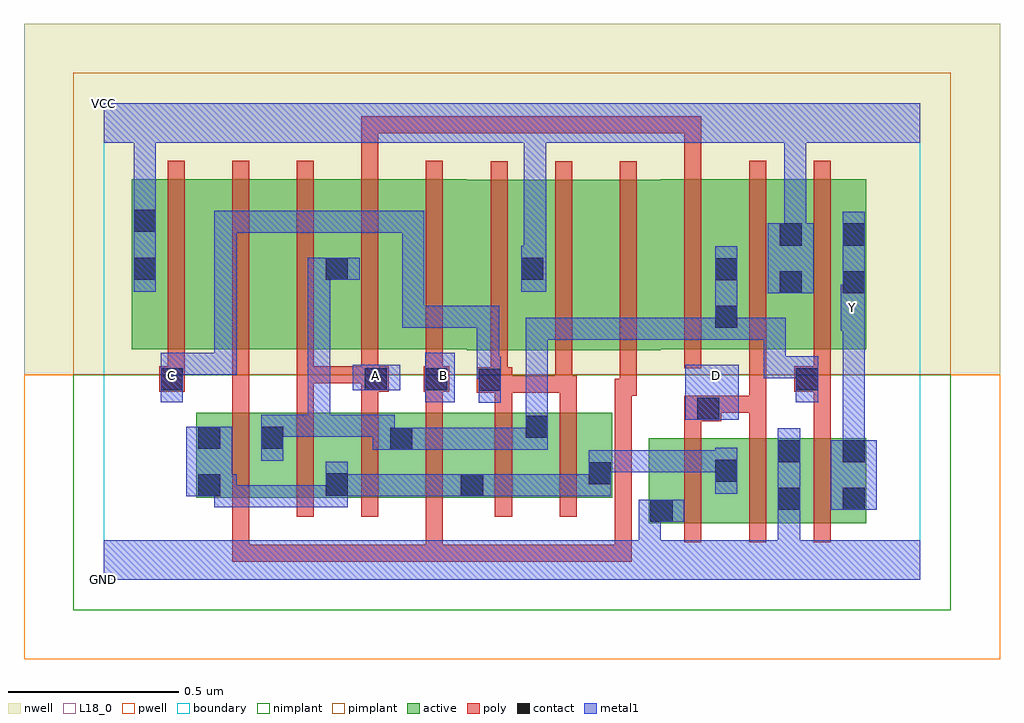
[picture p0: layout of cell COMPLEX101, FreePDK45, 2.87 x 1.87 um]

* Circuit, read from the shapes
.subckt COMPLEX101 A B C D GND VCC Y
M1 n1 B n2 VSUBS nfet w=0.25u l=0.05u m=2
M2 n2 A n1 VSUBS nfet w=0.25u l=0.05u m=2
M3 n1 C n2 VSUBS nfet w=0.25u l=0.05u m=2
M4 n2 D GND VSUBS nfet w=0.25u l=0.05u m=2
M5 Y n1 GND VSUBS nfet w=0.25u l=0.05u
M6 n3 C VCC n4 pfet w=0.5u l=0.05u
M7 n5 B n3 n4 pfet w=0.5u l=0.05u
M8 n1 A n5 n4 pfet w=0.5u l=0.05u
M9 n6 A n1 n4 pfet w=0.5u l=0.05u
M10 n7 B n6 n4 pfet w=0.5u l=0.05u
M11 VCC C n7 n4 pfet w=0.5u l=0.05u
M12 n8 C VCC n4 pfet w=0.5u l=0.05u
M13 n9 B n8 n4 pfet w=0.5u l=0.05u
M14 n1 A n9 n4 pfet w=0.5u l=0.05u
M15 VCC D n1 n4 pfet w=0.5u l=0.05u
M16 Y n1 VCC n4 pfet w=0.5u l=0.05u
.ends

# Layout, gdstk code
import gdstk
lib = gdstk.Library(unit=1e-6, precision=1e-09)
def R(c, l, rs):  # rectangles x0, y0, x1, y1
    for r in rs: c.add(gdstk.rectangle(r[:2], r[2:], *l))
def A(c, l, x, y, w, h, nx, ny, dx, dy):  # array of equal rectangles
    R(c, l, [(x+i*dx, y+j*dy, x+i*dx+w, y+j*dy+h) for i in range(nx) for j in range(ny)])
active = (1, 0)
pwell = (2, 0)
nwell = (3, 0)
nimplant = (4, 0)
pimplant = (5, 0)
poly = (9, 0)
contact = (10, 0)
metal1 = (11, 0)
L18_0 = (18, 0)
boundary = (235, 0)

complex101 = lib.new_cell('COMPLEX101')
R(complex101, active, [(1.602,0.165,1.867,0.415), (1.602,0.165,1.677,0.342), (1.792,0.165,2.052,0.415), (1.977,0.165,2.242,0.415), (1.977,0.165,2.052,0.415), (1.792,0.2,1.867,0.415), (2.167,0.2,2.242,0.415), (0.272,0.24,0.347,0.49), (0.272,0.24,0.532,0.49), (0.457,0.24,0.722,0.49), (0.647,0.24,0.912,0.49), (0.647,0.24,0.722,0.467), (0.837,0.24,1.12,0.49), (1.045,0.24,1.31,0.49), (1.045,0.24,1.12,0.405), (1.235,0.24,1.495,0.49), (1.42,0.24,1.495,0.49), (0.457,0.297,0.532,0.455), (0.837,0.297,0.912,0.452), (1.235,0.297,1.31,0.49), (1.067,0.675,1.297,1.175), (1.222,0.675,1.447,1.175), (1.222,0.675,1.297,1.175), (1.447,0.675,1.637,1.175), (0.082,0.677,0.157,1.157), (0.082,0.677,0.307,1.177), (0.307,0.677,0.497,1.177), (0.497,0.677,0.722,1.177), (0.647,0.677,0.877,1.177), (0.877,0.677,1.067,1.177), (1.637,0.677,1.867,1.177), (1.792,0.677,1.867,1.157), (1.792,0.677,2.057,1.177), (1.982,0.677,2.242,1.177), (2.167,0.677,2.242,1.157), (0.647,0.682,0.722,1.07), (1.982,0.807,2.057,1.157)])
R(complex101, pwell, [(-0.235,-0.235,2.635,0.602)])
R(complex101, nwell, [(-0.235,0.602,2.635,1.635)])
R(complex101, nimplant, [(-0.09,-0.09,2.49,0.602)])
R(complex101, pimplant, [(-0.09,0.602,2.49,1.49)])
A(complex101, poly, 1.707, 0.11, 0.05, 0.36, 3, 1, 0.19, 0)
A(complex101, poly, 0.377, 0.185, 0.05, 0.36, 4, 1, 0.19, 0)
A(complex101, poly, 0.567, 0.577, 0.05, 0.095, 3, 1, 0.19, 0)
A(complex101, poly, 1.137, 0.62, 0.05, 0.61, 3, 1, 0.19, 0)
A(complex101, poly, 0.187, 0.622, 0.05, 0.61, 5, 1, 0.19, 0)
A(complex101, poly, 1.707, 0.622, 0.05, 0.61, 3, 1, 0.19, 0)
R(complex101, poly, [(0.377,0.052,0.427,0.102), (0.377,0.052,0.427,0.102), (0.377,0.052,0.427,0.102), (0.377,0.052,0.617,0.102), (0.377,0.052,0.427,0.235), (0.567,0.052,0.617,0.102), (0.567,0.052,0.617,0.102), (0.567,0.052,0.617,0.102), (0.567,0.052,0.75,0.102), (0.7,0.052,0.75,0.102), (0.7,0.052,0.75,0.102), (0.7,0.052,0.75,0.102), (0.7,0.052,0.997,0.102), (0.947,0.052,0.997,0.102), (0.947,0.052,0.997,0.102), (0.947,0.052,0.997,0.102), (0.947,0.052,1.13,0.102), (0.947,0.052,0.997,0.235), (1.08,0.052,1.13,0.102), (1.08,0.052,1.332,0.102), (1.282,0.052,1.332,0.102), (1.282,0.052,1.332,0.102), (1.282,0.052,1.332,0.102), (1.282,0.052,1.552,0.102), (1.502,0.052,1.552,0.102), (1.502,0.052,1.552,0.102), (1.502,0.052,1.552,0.102), (1.502,0.052,1.552,0.102), (1.502,0.052,1.552,0.102), (1.502,0.052,1.552,0.59), (1.15,0.185,1.2,0.545), (1.34,0.185,1.39,0.545), (1.707,0.42,1.757,0.515), (1.897,0.42,1.947,0.54), (2.087,0.42,2.137,0.602), (1.707,0.465,1.815,0.54), (1.765,0.49,1.947,0.54), (1.897,0.49,1.947,0.672), (1.897,0.49,1.947,0.54), (1.897,0.49,1.947,0.54), (1.897,0.49,1.947,0.54), (0.377,0.495,0.427,0.59), (0.567,0.495,0.617,0.627), (0.757,0.495,0.807,0.602), (0.947,0.495,0.997,0.602), (1.15,0.495,1.2,0.6), (1.34,0.495,1.39,0.6), (0.377,0.54,0.427,0.59), (0.377,0.54,0.427,0.672), (1.502,0.54,1.552,0.59), (1.502,0.54,1.552,0.59), (1.502,0.54,1.567,0.59), (1.517,0.54,1.567,0.67), (1.097,0.55,1.2,0.625), (1.15,0.55,1.377,0.6), (1.327,0.55,1.377,0.67), (1.327,0.55,1.377,0.6), (1.327,0.55,1.377,0.6), (1.327,0.55,1.39,0.6), (0.162,0.552,0.237,0.627), (0.757,0.552,0.837,0.627), (0.94,0.552,1.015,0.627), (2.03,0.552,2.137,0.627), (1.137,0.575,1.187,0.67), (0.187,0.577,0.237,0.672), (0.567,0.577,0.617,0.627), (0.567,0.577,0.617,0.627), (0.567,0.577,0.617,0.627), (0.567,0.577,0.807,0.627), (2.087,0.577,2.137,0.672), (0.757,1.182,0.807,1.362), (1.707,1.182,1.757,1.362), (0.757,1.312,0.807,1.362), (0.757,1.312,0.807,1.362), (0.757,1.312,0.807,1.362), (0.757,1.312,0.997,1.362), (0.947,1.312,0.997,1.362), (0.947,1.312,1.13,1.362), (1.08,1.312,1.13,1.362), (1.08,1.312,1.13,1.362), (1.08,1.312,1.13,1.362), (1.08,1.312,1.377,1.362), (1.327,1.312,1.377,1.362), (1.327,1.312,1.377,1.362), (1.327,1.312,1.377,1.362), (1.327,1.312,1.51,1.362), (1.46,1.312,1.51,1.362), (1.46,1.312,1.51,1.362), (1.46,1.312,1.51,1.362), (1.46,1.312,1.757,1.362), (1.707,1.312,1.757,1.362), (1.707,1.312,1.757,1.362), (1.707,1.312,1.757,1.362)])
R(complex101, contact, [(1.607,0.17,1.672,0.235), (1.982,0.205,2.047,0.27), (2.172,0.205,2.237,0.27), (0.277,0.245,0.342,0.31), (1.05,0.245,1.115,0.31), (0.652,0.247,0.717,0.312), (1.425,0.28,1.49,0.345), (1.797,0.287,1.862,0.352), (1.982,0.345,2.047,0.41), (2.172,0.345,2.237,0.41), (0.842,0.382,0.907,0.447), (0.277,0.385,0.342,0.45), (0.462,0.385,0.527,0.45), (1.24,0.417,1.305,0.482), (1.745,0.47,1.81,0.535), (1.102,0.555,1.167,0.62), (0.167,0.557,0.232,0.622), (0.767,0.557,0.832,0.622), (0.945,0.557,1.01,0.622), (2.035,0.557,2.1,0.622), (1.797,0.74,1.862,0.805), (1.987,0.842,2.052,0.907), (2.172,0.842,2.237,0.907), (1.797,0.88,1.862,0.945), (0.087,0.882,0.152,0.947), (0.652,0.882,0.717,0.947), (1.227,0.882,1.292,0.947), (1.987,0.982,2.052,1.047), (2.172,0.982,2.237,1.047), (0.087,1.022,0.152,1.087)])
R(complex101, metal1, [(0,0,2.4,0.115), (1.572,0.05,1.637,0.235), (1.982,0.05,2.047,0.235), (1.572,0.17,1.637,0.235), (1.572,0.17,1.637,0.235), (1.572,0.17,1.637,0.235), (1.572,0.17,1.637,0.235), (1.572,0.17,1.707,0.235), (1.982,0.17,2.047,0.445), (1.982,0.17,2.047,0.235), (1.982,0.17,2.047,0.235), (1.982,0.17,2.047,0.235), (1.982,0.17,2.047,0.235), (2.137,0.205,2.272,0.41), (0.325,0.212,0.527,0.277), (0.325,0.212,0.39,0.31), (0.462,0.212,0.527,0.277), (0.462,0.212,0.527,0.277), (0.462,0.212,0.527,0.277), (0.462,0.212,0.717,0.277), (0.652,0.212,0.717,0.347), (0.242,0.245,0.377,0.45), (0.312,0.245,0.39,0.31), (0.652,0.245,0.717,0.31), (0.652,0.245,0.717,0.31), (0.652,0.245,0.872,0.31), (0.807,0.245,0.872,0.31), (0.807,0.245,1.025,0.31), (0.96,0.245,1.025,0.31), (0.96,0.245,1.08,0.31), (1.015,0.245,1.15,0.31), (1.085,0.245,1.17,0.31), (1.105,0.245,1.17,0.31), (1.105,0.245,1.352,0.31), (1.287,0.245,1.352,0.31), (1.287,0.245,1.352,0.31), (1.287,0.245,1.352,0.31), (1.287,0.245,1.49,0.31), (1.425,0.245,1.49,0.38), (1.797,0.252,1.862,0.387), (1.425,0.315,1.49,0.38), (1.425,0.315,1.49,0.38), (1.425,0.315,1.49,0.38), (1.425,0.315,1.49,0.38), (1.425,0.315,1.627,0.38), (1.562,0.315,1.627,0.38), (1.562,0.315,1.627,0.38), (1.562,0.315,1.627,0.38), (1.562,0.315,1.862,0.38), (2.172,0.345,2.237,0.797), (0.462,0.35,0.527,0.485), (0.79,0.382,0.872,0.447), (0.79,0.382,0.855,0.485), (0.807,0.382,0.942,0.447), (0.877,0.382,1.025,0.447), (0.96,0.382,1.025,0.447), (0.96,0.382,1.155,0.447), (1.09,0.382,1.155,0.447), (1.09,0.382,1.17,0.447), (1.105,0.382,1.17,0.447), (1.105,0.382,1.305,0.447), (1.24,0.382,1.305,0.517), (0.462,0.42,0.527,0.485), (0.462,0.42,0.527,0.485), (0.462,0.42,0.665,0.485), (0.6,0.42,0.665,0.485), (0.6,0.42,0.665,0.485), (0.6,0.42,0.665,0.485), (0.6,0.42,0.855,0.485), (0.6,0.42,0.665,0.947), (1.24,0.452,1.305,0.77), (1.71,0.47,1.867,0.632), (1.102,0.52,1.167,0.655), (0.167,0.522,0.232,0.667), (0.945,0.522,1.032,0.667), (2.035,0.522,2.1,0.657), (0.732,0.557,0.872,0.632), (1.097,0.59,1.162,0.655), (1.097,0.59,1.167,0.655), (1.097,0.59,1.162,0.805), (1.94,0.592,2.1,0.657), (1.94,0.592,2.005,0.657), (1.94,0.592,2.005,0.77), (0.167,0.602,0.39,0.667), (0.325,0.602,0.39,0.667), (0.325,0.602,0.39,0.667), (0.325,0.602,0.39,0.667), (0.325,0.602,0.39,1.085), (1.24,0.705,1.305,0.77), (1.24,0.705,1.305,0.77), (1.24,0.705,1.307,0.77), (1.242,0.705,1.307,0.77), (1.242,0.705,1.307,0.77), (1.242,0.705,1.49,0.77), (1.425,0.705,1.49,0.77), (1.425,0.705,1.49,0.77), (1.425,0.705,1.49,0.77), (1.425,0.705,1.725,0.77), (1.66,0.705,1.725,0.77), (1.66,0.705,1.725,0.77), (1.66,0.705,1.725,0.77), (1.66,0.705,1.862,0.77), (1.797,0.705,1.862,0.98), (1.797,0.705,1.862,0.77), (1.797,0.705,1.862,0.77), (1.797,0.705,2.005,0.77), (1.94,0.705,2.005,0.77), (2.167,0.732,2.237,0.867), (0.877,0.74,0.942,0.805), (0.877,0.74,1.025,0.805), (0.877,0.74,0.942,1.085), (0.96,0.74,1.025,0.805), (0.96,0.74,1.162,0.805), (1.097,0.74,1.162,0.805), (2.172,0.802,2.237,0.872), (2.172,0.807,2.237,1.082), (1.952,0.842,2.087,1.047), (0.087,0.847,0.152,1.122), (1.227,0.847,1.3,0.982), (0.6,0.882,0.752,0.947), (1.235,0.917,1.3,1.35), (2,0.982,2.065,1.047), (2,0.982,2.065,1.047), (2,0.982,2.065,1.35), (0.325,1.02,0.39,1.085), (0.325,1.02,0.39,1.085), (0.325,1.02,0.39,1.085), (0.325,1.02,0.527,1.085), (0.462,1.02,0.527,1.085), (0.462,1.02,0.527,1.085), (0.462,1.02,0.527,1.085), (0.462,1.02,0.665,1.085), (0.6,1.02,0.665,1.085), (0.6,1.02,0.665,1.085), (0.6,1.02,0.665,1.085), (0.6,1.02,0.942,1.085), (0.877,1.02,0.942,1.085), (0.087,1.057,0.152,1.122), (0.087,1.057,0.152,1.122), (0.087,1.057,0.152,1.35), (0,1.285,2.4,1.4), (1.235,1.285,1.3,1.35), (1.235,1.285,1.3,1.35)])
R(complex101, L18_0, [(0,0,2.4,0.115), (1.572,0.05,1.637,0.235), (1.982,0.05,2.047,0.235), (1.572,0.17,1.637,0.235), (1.572,0.17,1.637,0.235), (1.572,0.17,1.637,0.235), (1.572,0.17,1.637,0.235), (1.572,0.17,1.707,0.235), (1.982,0.17,2.047,0.445), (1.982,0.17,2.047,0.235), (1.982,0.17,2.047,0.235), (1.982,0.17,2.047,0.235), (1.982,0.17,2.047,0.235), (2.137,0.205,2.272,0.41), (2.172,0.345,2.237,0.797), (1.71,0.47,1.867,0.632), (1.102,0.52,1.167,0.655), (0.167,0.522,0.232,0.667), (0.945,0.522,1.032,0.667), (0.732,0.557,0.872,0.632), (0.167,0.567,0.232,0.632), (0.767,0.567,0.832,0.632), (0.967,0.567,1.032,0.632), (1.767,0.567,1.832,0.632), (1.097,0.59,1.162,0.655), (1.097,0.59,1.162,0.805), (1.097,0.59,1.167,0.655), (0.167,0.602,0.39,0.667), (0.325,0.602,0.39,0.667), (0.325,0.602,0.39,0.667), (0.325,0.602,0.39,0.667), (0.325,0.602,0.39,1.085), (2.167,0.732,2.237,0.867), (0.877,0.74,0.942,0.805), (0.877,0.74,0.942,1.085), (0.877,0.74,1.025,0.805), (0.96,0.74,1.025,0.805), (0.96,0.74,1.162,0.805), (1.097,0.74,1.162,0.805), (2.167,0.767,2.232,0.832), (2.172,0.802,2.237,0.872), (2.172,0.807,2.237,1.082), (1.952,0.842,2.087,1.047), (0.087,0.847,0.152,1.122), (1.227,0.847,1.3,0.982), (1.235,0.917,1.3,1.35), (2,0.982,2.065,1.047), (2,0.982,2.065,1.047), (2,0.982,2.065,1.35), (0.325,1.02,0.39,1.085), (0.325,1.02,0.39,1.085), (0.325,1.02,0.39,1.085), (0.325,1.02,0.527,1.085), (0.462,1.02,0.527,1.085), (0.462,1.02,0.527,1.085), (0.462,1.02,0.527,1.085), (0.462,1.02,0.665,1.085), (0.6,1.02,0.665,1.085), (0.6,1.02,0.665,1.085), (0.6,1.02,0.665,1.085), (0.6,1.02,0.942,1.085), (0.877,1.02,0.942,1.085), (0.087,1.057,0.152,1.122), (0.087,1.057,0.152,1.122), (0.087,1.057,0.152,1.35), (0,1.285,2.4,1.4), (1.235,1.285,1.3,1.35), (1.235,1.285,1.3,1.35)])
R(complex101, boundary, [(0,0,2.4,1.4)])
complex101.add(gdstk.Label('A', (0.8,0.6), layer=11, texttype=0))
complex101.add(gdstk.Label('B', (1,0.6), layer=11, texttype=0))
complex101.add(gdstk.Label('C', (0.2,0.6), layer=11, texttype=0))
complex101.add(gdstk.Label('D', (1.8,0.6), layer=11, texttype=0))
complex101.add(gdstk.Label('Y', (2.2,0.8), layer=11, texttype=0))
complex101.add(gdstk.Label('VCC', (0,1.4), layer=11, texttype=0))
complex101.add(gdstk.Label('GND', (0,0), layer=11, texttype=0))

lib.write_gds('COMPLEX101.gds')
